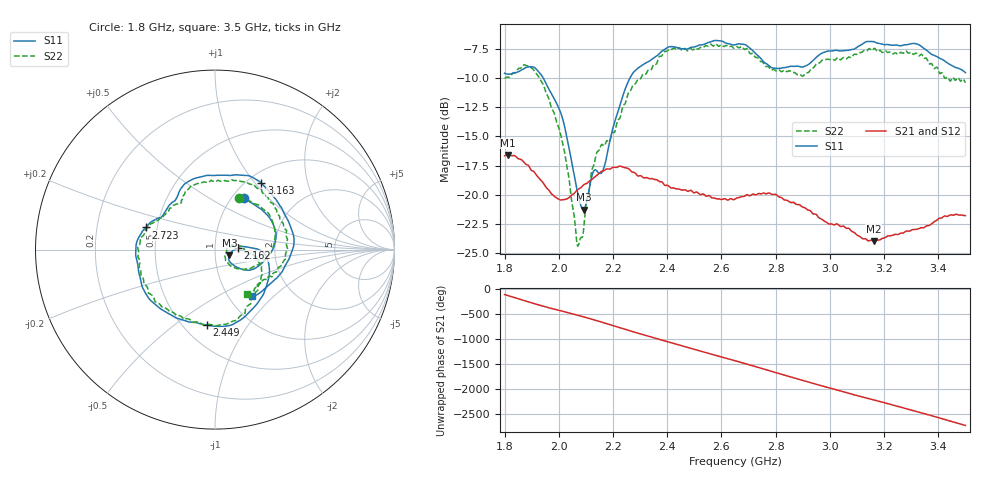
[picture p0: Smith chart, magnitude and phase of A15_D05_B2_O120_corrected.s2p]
! Created with skrf 1.9.0 (http://scikit-rf.org).
# Hz S RI R 50.0
!freq ReS11 ImS11 ReS21 ImS21 ReS12 ImS12 ReS22 ImS22
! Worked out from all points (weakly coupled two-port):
!   1601 points, 1.8 GHz to 3.5 GHz, reference 50 ohm
!   highest |S21| = -16.58 dB at 1.812 GHz (marker M1); lowest = -24.0 dB at 3.162 GHz (marker M2)
!   lowest |S11| = -21.3 dB at 2.091 GHz (marker M3), VSWR 1.19, Z = 58.6 - j3.77 ohm
!   |S11| at or under -10 dB: 1.943 GHz to 2.262 GHz (319.8 MHz wide, 15.2 % of centre)
!   |S22| runs from -24.4 to -7.1 dB; largest |S21 - S12| = 0.0027
!   S11 on the Smith chart (normalised r, x): 1.8 GHz: 1.13, +0.73; 2.162 GHz: 1.29, +0.03; 2.449 GHz: 0.65, -0.66; 2.723 GHz: 0.43, +0.13; 3.163 GHz: 1.16, +1.08; 3.5 GHz: 1.28, -0.75
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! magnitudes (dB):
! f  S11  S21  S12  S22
! 1.8 GHz  -9.6  -16.7  -16.7  -10.0
! 1.812 GHz  -9.7  -16.6  -16.6  -9.9
! 1.88 GHz  -9.1  -17.4  -17.4  -8.9
! 1.941 GHz  -9.9  -19.0  -19.0  -10.5
! 2.013 GHz  -13.4  -20.4  -20.4  -15.5
! 2.067 GHz  -19.5  -19.6  -19.6  -24.1
! 2.084 GHz  -21.1  -19.3  -19.3  -23.6
! 2.091 GHz  -21.3  -19.2  -19.2  -23.1
! 2.126 GHz  -18.1  -18.6  -18.6  -17.6
! 2.162 GHz  -17.9  -18.0  -17.9  -15.7
! 2.259 GHz  -10.2  -17.8  -17.8  -11.2
! 2.367 GHz  -8.0  -18.8  -18.8  -8.3
! 2.449 GHz  -7.5  -19.6  -19.6  -7.5
! 2.65 GHz  -7.2  -20.4  -20.3  -7.4
! 2.723 GHz  -7.9  -20.0  -19.9  -8.2
! 2.795 GHz  -9.2  -20.0  -20.0  -9.3
! 2.934 GHz  -8.6  -21.5  -21.5  -9.2
! 3.162 GHz  -6.9  -24.0  -23.9  -7.5
! 3.163 GHz  -6.9  -24.0  -23.9  -7.5
! 3.217 GHz  -7.1  -23.5  -23.5  -7.8
! 3.323 GHz  -7.1  -22.9  -22.9  -8.0
! 3.5 GHz  -9.5  -21.8  -21.8  -10.4
